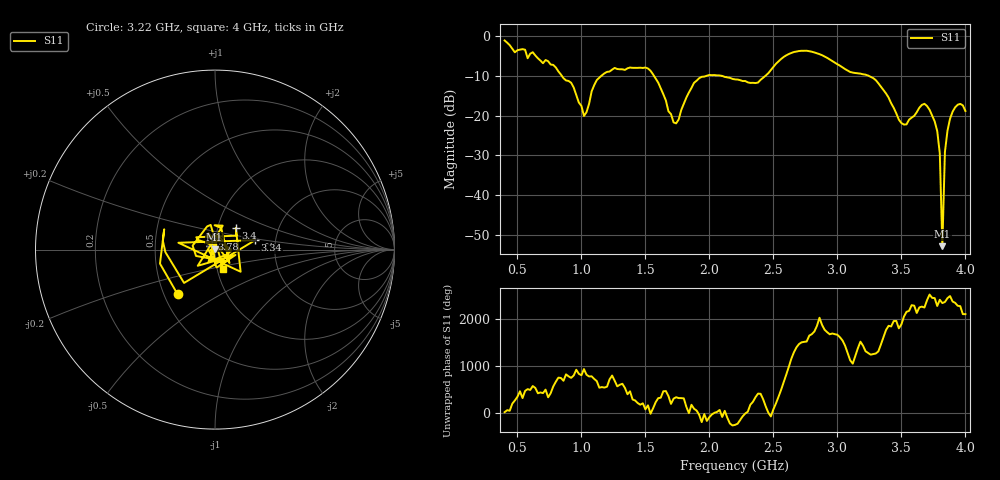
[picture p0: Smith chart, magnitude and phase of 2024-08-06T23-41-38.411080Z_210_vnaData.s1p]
!Created with skrf (http://scikit-rf.org).
# Hz S RI R 50.0
!freq ReS11 ImS11
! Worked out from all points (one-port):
!   181 points, 400 MHz to 4 GHz, reference 50 ohm
!   lowest |S11| = -52.7 dB at 3.82 GHz (marker M1), VSWR 1.00, Z = 49.8 + j0.0579 ohm
!   |S11| at or under -10 dB: 1.566 GHz to 1.985 GHz (419.3 MHz wide, 23.6 % of centre); 2.085 GHz to 2.44 GHz (354.8 MHz wide, 15.7 % of centre); 3.24 GHz to end of sweep (the widest 3 of 4)
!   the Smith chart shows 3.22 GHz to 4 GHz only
!   S11 on the Smith chart (normalised r, x): 3.22 GHz: 0.59, -0.33; 3.34 GHz: 1.56, +0.17; 3.4 GHz: 1.22, +0.30; 3.78 GHz: 0.96, +0.12; 4 GHz: 1.07, -0.23
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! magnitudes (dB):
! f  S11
! 400 MHz  -1.2
! 860 MHz  -10.7
! 920 MHz  -11.8
! 1.02 GHz  -20.1
! 1.12 GHz  -11.1
! 1.3 GHz  -8.4
! 1.52 GHz  -8.2
! 1.6 GHz  -11.8
! 1.72 GHz  -21.7
! 1.76 GHz  -21.0
! 1.92 GHz  -10.7
! 2.2 GHz  -11.0
! 2.38 GHz  -11.7
! 2.66 GHz  -4.1
! 3.1 GHz  -9.1
! 3.22 GHz  -9.8
! 3.34 GHz  -12.8
! 3.4 GHz  -15.5
! 3.5 GHz  -21.9
! 3.56 GHz  -21.0
! 3.68 GHz  -17.1
! 3.78 GHz  -23.9
! 3.8 GHz  -29.5
! 3.82 GHz  -52.7
! 3.84 GHz  -29.1
! 3.86 GHz  -23.8
! 3.92 GHz  -18.0
! 4 GHz  -18.9
